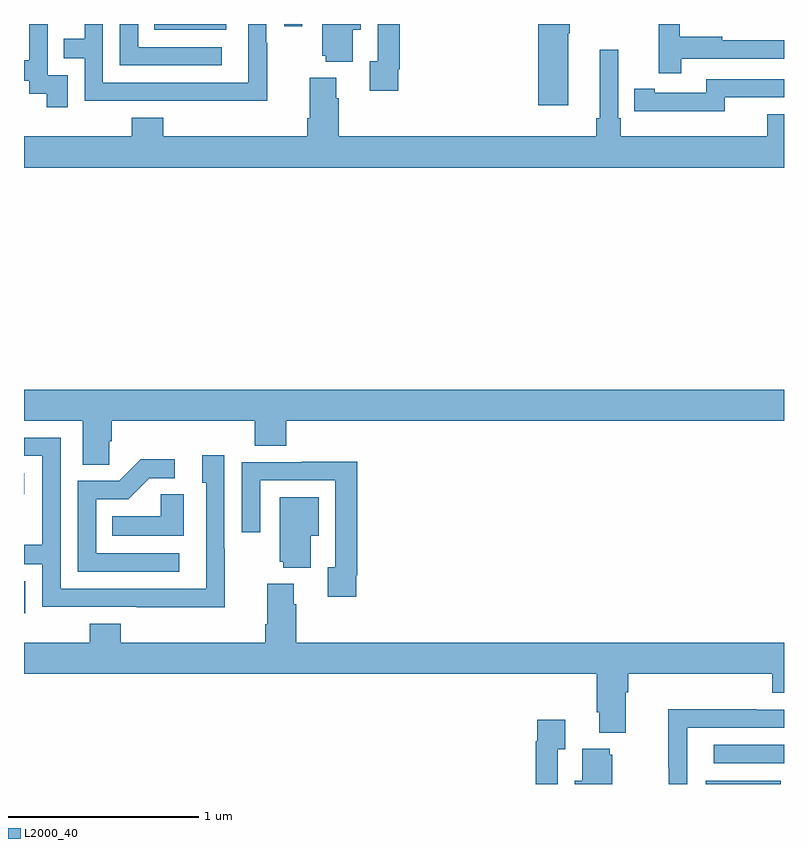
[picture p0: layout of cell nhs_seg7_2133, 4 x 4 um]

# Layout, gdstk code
import gdstk
lib = gdstk.Library(unit=1e-6, precision=1e-09)
def R(c, l, rs):  # rectangles x0, y0, x1, y1
    for r in rs: c.add(gdstk.rectangle(r[:2], r[2:], *l))
def P(c, l, *ps):  # polygons
    for p in ps: c.add(gdstk.Polygon(p, *l))
L2000_40 = (2000, 40)

nhs_seg7_2133 = lib.new_cell('nhs_seg7_2133')
R(nhs_seg7_2133, L2000_40, [(254.588,1036,254.984,1036.018), (254.631,1036.11,255,1036.206), (251,1036.899,251.007,1037.067), (251,1037.525,251.002,1037.635), (251.686,1039.97,252.064,1040), (252.369,1039.989,252.465,1040)])
P(nhs_seg7_2133, L2000_40, [(252.04,1039.878),(251.601,1039.878),(251.601,1040),(251.505,1040),(251.505,1039.782),(252.04,1039.782)],
  [(251.229,1039.731),(251.124,1039.731),(251.124,1039.961),(251.126,1039.961),(251.126,1040),(251.027,1040),(251.027,1039.81),(251,1039.81),(251,1039.701),(251.028,1039.701),(251.028,1039.632),(251.121,1039.632),(251.121,1039.563),(251.229,1039.563)],
  [(252.279,1039.901),(252.276,1039.901),(252.276,1040),(252.18,1040),(252.18,1039.692),(251.415,1039.692),(251.415,1040),(251.319,1040),(251.319,1039.922),(251.209,1039.922),(251.209,1039.821),(251.319,1039.821),(251.319,1039.596),(251.815,1039.596),(251.815,1039.595),(252.279,1039.595)],
  [(252.97,1039.762),(252.977,1039.762),(252.977,1040),(252.861,1040),(252.861,1039.805),(252.821,1039.805),(252.821,1039.65),(252.97,1039.65)],
  [(253.864,1039.951),(253.872,1039.951),(253.872,1040),(253.706,1040),(253.706,1039.572),(253.864,1039.572)],
  [(252.73,1039.97),(252.772,1039.97),(252.772,1040),(252.569,1040),(252.569,1039.833),(252.587,1039.833),(252.587,1039.802),(252.73,1039.802)],
  [(254.459,1039.818),(255,1039.818),(255,1039.914),(254.675,1039.914),(254.675,1039.934),(254.452,1039.934),(254.452,1040),(254.342,1040),(254.342,1039.74),(254.459,1039.74)],
  [(255,1039.525),(254.912,1039.525),(254.912,1039.408),(254.141,1039.408),(254.141,1039.504),(254.127,1039.504),(254.127,1039.864),(254.03,1039.864),(254.03,1039.504),(254.011,1039.504),(254.011,1039.408),(252.656,1039.408),(252.656,1039.61),(252.643,1039.61),(252.643,1039.717),(252.503,1039.717),(252.503,1039.504),(252.491,1039.504),(252.491,1039.408),(251.732,1039.408),(251.732,1039.507),(251.567,1039.507),(251.567,1039.408),(251,1039.408),(251,1039.244),(255,1039.244)],
  [(254.688,1039.614),(255,1039.614),(255,1039.71),(254.592,1039.71),(254.592,1039.638),(254.32,1039.638),(254.32,1039.658),(254.212,1039.658),(254.212,1039.542),(254.32,1039.542),(254.32,1039.541),(254.688,1039.541)],
  [(251.448,1037.803),(251.462,1037.803),(251.462,1037.912),(252.215,1037.912),(252.215,1037.779),(252.38,1037.779),(252.38,1037.912),(255,1037.912),(255,1038.076),(251,1038.076),(251,1037.912),(251.309,1037.912),(251.309,1037.68),(251.448,1037.68)],
  [(252.057,1037.237),(252.054,1037.237),(252.054,1037.731),(251.939,1037.731),(251.939,1037.586),(251.958,1037.586),(251.958,1037.028),(251.193,1037.028),(251.193,1037.823),(251,1037.823),(251,1037.727),(251.097,1037.727),(251.097,1037.258),(251,1037.258),(251,1037.157),(251.097,1037.157),(251.097,1036.932),(251.593,1036.932),(251.593,1036.93),(252.057,1036.93)],
  [(251.818,1037.214),(251.379,1037.214),(251.379,1037.499),(251.548,1037.499),(251.659,1037.61),(251.794,1037.61),(251.794,1037.708),(251.615,1037.708),(251.502,1037.595),(251.283,1037.595),(251.283,1037.118),(251.818,1037.118)],
  [(252.748,1037.098),(252.755,1037.098),(252.755,1037.696),(252.463,1037.696),(252.463,1037.694),(252.147,1037.694),(252.147,1037.325),(252.243,1037.325),(252.243,1037.598),(252.639,1037.598),(252.639,1037.142),(252.599,1037.142),(252.599,1036.986),(252.748,1036.986)],
  [(251.842,1037.525),(251.721,1037.525),(251.721,1037.41),(251.464,1037.41),(251.464,1037.306),(251.842,1037.306)],
  [(252.508,1037.306),(252.55,1037.306),(252.55,1037.509),(252.347,1037.509),(252.347,1037.169),(252.365,1037.169),(252.365,1037.138),(252.508,1037.138)],
  [(254.167,1036.484),(254.18,1036.484),(254.18,1036.58),(254.939,1036.58),(254.939,1036.481),(255,1036.481),(255,1036.744),(252.434,1036.744),(252.434,1036.946),(252.421,1036.946),(252.421,1037.053),(252.281,1037.053),(252.281,1036.84),(252.269,1036.84),(252.269,1036.744),(251.51,1036.744),(251.51,1036.843),(251.345,1036.843),(251.345,1036.744),(251,1036.744),(251,1036.58),(254.015,1036.58),(254.015,1036.378),(254.027,1036.378),(254.027,1036.271),(254.167,1036.271)],
  [(254.49,1036.042),(254.491,1036.042),(254.491,1036.296),(255,1036.296),(255,1036.392),(254.855,1036.392),(254.855,1036.394),(254.392,1036.394),(254.392,1036.087),(254.394,1036.087),(254.394,1036),(254.49,1036)],
  [(253.809,1036.183),(253.849,1036.183),(253.849,1036.339),(253.701,1036.339),(253.701,1036.226),(253.693,1036.226),(253.693,1036),(253.809,1036)],
  [(254.095,1036.155),(254.084,1036.155),(254.084,1036.186),(253.937,1036.186),(253.937,1036.018),(253.898,1036.018),(253.898,1036),(254.095,1036)])

lib.write_gds('nhs_seg7_2133.gds')
